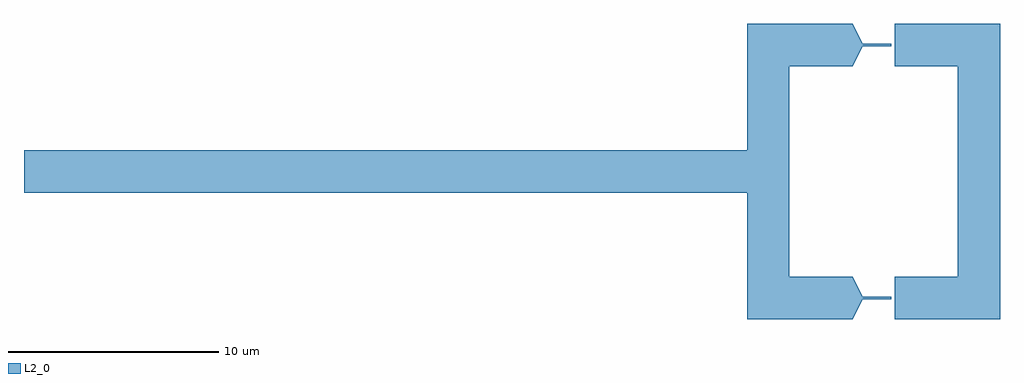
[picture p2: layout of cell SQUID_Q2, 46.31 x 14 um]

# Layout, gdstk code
import gdstk
lib = gdstk.Library(unit=1e-6, precision=1e-09)
def R(c, l, rs):  # rectangles x0, y0, x1, y1
    for r in rs: c.add(gdstk.rectangle(r[:2], r[2:], *l))
def P(c, l, *ps):  # polygons
    for p in ps: c.add(gdstk.Polygon(p, *l))
L2_0 = (2, 0)

squid_q2 = lib.new_cell('SQUID_Q2')
R(squid_q2, L2_0, [(10.155,-7,12.155,7), (12.155,-7,15.16,-5), (17.15,-7,20.155,-5), (20.155,-7,22.155,7), (15.64,-6.068,17,-5.932), (-24.155,-1,10.155,1), (12.155,5,15.16,7), (17.15,5,20.155,7), (15.64,5.932,17,6.068)])
P(squid_q2, L2_0, [(15.16,-7),(15.64,-6.068),(15.64,-5.932),(15.16,-5)],
  [(15.16,5),(15.64,5.932),(15.64,6.068),(15.16,7)])

lib.write_gds('SQUID_Q2.gds')
